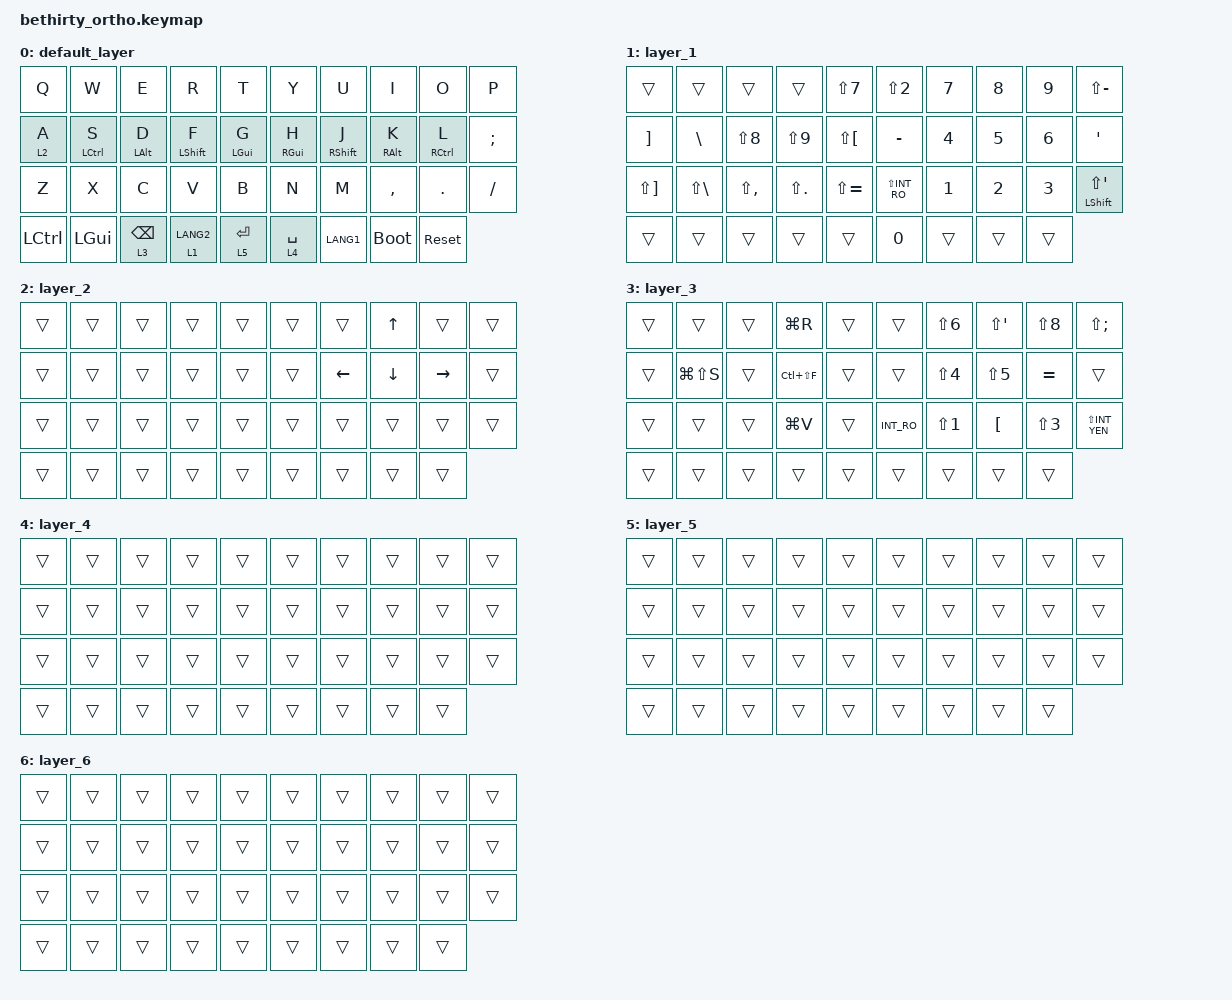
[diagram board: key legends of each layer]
#include <behaviors.dtsi>
#include <dt-bindings/zmk/keys.h>

&mt {
    flavor = "balanced";
    tapping-term-ms = <250>;
    quick-tap-ms = <0>;
};

&lt {
    flavor = "balanced";
    tapping-term-ms = <250>;
    quick-tap-ms = <0>;
};

/ {
    combos {
        compatible = "zmk,combos";

        combo_q_w_esc {
            timeout-ms = <40>;
            layers = <0>;
            key-positions = <0 1>;
            bindings = <&kp ESC>;
        };

        combo_a_s_tab {
            timeout-ms = <40>;
            layers = <0>;
            key-positions = <10 11>;
            bindings = <&kp TAB>;
        };

        combo_z_x_shift_tab {
            timeout-ms = <40>;
            layers = <0>;
            key-positions = <20 21>;
            bindings = <&kp LS(TAB)>;
        };

        combo_q_a_ampersand {
            timeout-ms = <40>;
            layers = <0>;
            key-positions = <0 10>;
            bindings = <&kp LS(N6)>;
        };

        combo_a_z_grave {
            timeout-ms = <40>;
            layers = <0>;
            key-positions = <10 20>;
            bindings = <&kp LS(BACKSLASH)>;
        };

        combo_w_s_exclamation {
            timeout-ms = <40>;
            layers = <0>;
            key-positions = <1 11>;
            bindings = <&kp LS(N1)>;
        };

        combo_s_x_question {
            timeout-ms = <40>;
            layers = <0>;
            key-positions = <11 21>;
            bindings = <&kp LS(SLASH)>;
        };

        combo_e_d_less_than {
            timeout-ms = <40>;
            layers = <0>;
            key-positions = <2 12>;
            bindings = <&kp LS(COMMA)>;
        };

        combo_d_c_greater_than {
            timeout-ms = <40>;
            layers = <0>;
            key-positions = <12 22>;
            bindings = <&kp LS(DOT)>;
        };

        combo_r_f_minus {
            timeout-ms = <40>;
            layers = <0>;
            key-positions = <3 13>;
            bindings = <&kp MINUS>;
        };

        combo_f_v_equal {
            timeout-ms = <40>;
            layers = <0>;
            key-positions = <13 23>;
            bindings = <&kp LS(MINUS)>;
        };

        combo_t_g_tilde {
            timeout-ms = <40>;
            layers = <0>;
            key-positions = <4 14>;
            bindings = <&kp LS(SEMI)>;
        };

        combo_g_b_percent {
            timeout-ms = <40>;
            layers = <0>;
            key-positions = <14 24>;
            bindings = <&kp LS(N5)>;
        };

        combo_y_h_double_quote {
            timeout-ms = <40>;
            layers = <0>;
            key-positions = <5 15>;
            bindings = <&kp BACKSLASH>;
        };

        combo_h_n_single_quote {
            timeout-ms = <40>;
            layers = <0>;
            key-positions = <15 25>;
            bindings = <&kp LS(N7)>;
        };

        combo_u_j_semicolon {
            timeout-ms = <40>;
            layers = <0>;
            key-positions = <6 16>;
            bindings = <&kp SEMI>;
        };

        combo_j_m_colon {
            timeout-ms = <40>;
            layers = <0>;
            key-positions = <16 26>;
            bindings = <&kp SINGLE_QUOTE>;
        };

        combo_i_k_plus {
            timeout-ms = <40>;
            layers = <0>;
            key-positions = <7 17>;
            bindings = <&kp LS(SEMI)>;
        };

        combo_k_comma_asterisk {
            timeout-ms = <40>;
            layers = <0>;
            key-positions = <17 27>;
            bindings = <&kp LS(SINGLE_QUOTE)>;
        };

        combo_o_l_at {
            timeout-ms = <40>;
            layers = <0>;
            key-positions = <8 18>;
            bindings = <&kp BACKSLASH>;
        };

        combo_l_dot_hash {
            timeout-ms = <40>;
            layers = <0>;
            key-positions = <18 28>;
            bindings = <&kp LS(N3)>;
        };

        combo_p_semi_pipe {
            timeout-ms = <40>;
            layers = <0>;
            key-positions = <9 19>;
            bindings = <&kp LS(INT_YEN)>;
        };

        combo_semi_slash_backslash {
            timeout-ms = <40>;
            layers = <0>;
            key-positions = <19 29>;
            bindings = <&kp INT_RO>;
        };

        combo_e_r_left_bracket {
            timeout-ms = <40>;
            layers = <0>;
            key-positions = <2 3>;
            bindings = <&kp BACKSLASH>;
        };

        combo_d_f_left_paren {
            timeout-ms = <40>;
            layers = <0>;
            key-positions = <12 13>;
            bindings = <&kp LS(N8)>;
        };

        combo_c_v_left_brace {
            timeout-ms = <40>;
            layers = <0>;
            key-positions = <22 23>;
            bindings = <&kp LS(BACKSLASH)>;
        };

        combo_u_i_right_bracket {
            timeout-ms = <40>;
            layers = <0>;
            key-positions = <6 7>;
            bindings = <&kp BACKSLASH>;
        };

        combo_j_k_right_paren {
            timeout-ms = <40>;
            layers = <0>;
            key-positions = <16 17>;
            bindings = <&kp LS(N9)>;
        };

        combo_m_comma_right_brace {
            timeout-ms = <40>;
            layers = <0>;
            key-positions = <26 27>;
            bindings = <&kp LS(BACKSLASH)>;
        };

        combo_f_enter_lang2 {
            timeout-ms = <40>;
            layers = <0>;
            key-positions = <13 34>;
            bindings = <&kp LANG2>;
        };

        combo_j_enter_lang1 {
            timeout-ms = <40>;
            layers = <0>;
            key-positions = <16 34>;
            bindings = <&kp LANG1>;
        };
    };


    behaviors {
        hml_cs: homerow_mod_left_ctrl_shift {
            compatible = "zmk,behavior-hold-tap";
            label = "HML_CTRL_SHIFT";
            #binding-cells = <2>;
            flavor = "balanced";
            tapping-term-ms = <250>;
            quick-tap-ms = <0>;
            require-prior-idle-ms = <150>;
            hold-trigger-key-positions = <5 6 7 8 9 15 16 17 18 19 25 26 27 28 29 35 36 37 38>;
            hold-trigger-on-release;
            hold-while-undecided;
            bindings = <&kp>, <&kp>;
        };

        hml_wa: homerow_mod_left_win_alt {
            compatible = "zmk,behavior-hold-tap";
            label = "HML_WIN_ALT";
            #binding-cells = <2>;
            flavor = "balanced";
            tapping-term-ms = <250>;
            quick-tap-ms = <0>;
            require-prior-idle-ms = <150>;
            hold-trigger-key-positions = <5 6 7 8 9 15 16 17 18 19 25 26 27 28 29 35 36 37 38>;
            hold-trigger-on-release;
            bindings = <&kp>, <&kp>;
        };

        hmr_cs: homerow_mod_right_ctrl_shift {
            compatible = "zmk,behavior-hold-tap";
            label = "HMR_CTRL_SHIFT";
            #binding-cells = <2>;
            flavor = "balanced";
            tapping-term-ms = <250>;
            quick-tap-ms = <0>;
            require-prior-idle-ms = <150>;
            hold-trigger-key-positions = <0 1 2 3 4 10 11 12 13 14 20 21 22 23 24 30 31 32 33 34>;
            hold-trigger-on-release;
            hold-while-undecided;
            bindings = <&kp>, <&kp>;
        };

        hmr_wa: homerow_mod_right_win_alt {
            compatible = "zmk,behavior-hold-tap";
            label = "HMR_WIN_ALT";
            #binding-cells = <2>;
            flavor = "balanced";
            tapping-term-ms = <250>;
            quick-tap-ms = <0>;
            require-prior-idle-ms = <150>;
            hold-trigger-key-positions = <0 1 2 3 4 10 11 12 13 14 20 21 22 23 24 30 31 32 33 34>;
            hold-trigger-on-release;
            bindings = <&kp>, <&kp>;
        };
    };

    keymap {
        compatible = "zmk,keymap";

        default_layer {
            bindings = <
                &kp Q                &kp W                &kp E                &kp R                &kp T                &kp Y                &kp U                &kp I                &kp O                &kp P
                &lt 2 A              &hml_cs LCTRL S      &hml_wa LALT D       &hml_cs LSHIFT F     &hml_wa LGUI G       &hmr_wa RGUI H       &hmr_cs RSHIFT J     &hmr_wa RALT K       &hmr_cs RCTRL L      &kp SEMI
                &kp Z                &kp X                &kp C                &kp V                &kp B                &kp N                &kp M                &kp COMMA            &kp DOT              &kp SLASH
                &kp LCTRL            &kp LGUI             &lt 3 BSPC           &lt 1 LANG2          &lt 5 ENTER          &lt 4 SPACE          &kp LANG1            &bootloader          &sys_reset
            >;
        };

        layer_1 {
            bindings = <
                &trans               &trans               &trans               &trans               &kp LS(N7)           &kp LS(N2)           &kp N7               &kp N8               &kp N9               &kp LS(MINUS)
                &kp RIGHT_BRACKET    &kp BACKSLASH        &kp LS(N8)           &kp LS(N9)           &kp LS(LEFT_BRACKET) &kp MINUS            &kp N4               &kp N5               &kp N6               &kp SINGLE_QUOTE
                &kp LS(RIGHT_BRACKET) &kp LS(BACKSLASH)   &kp LS(COMMA)        &kp LS(DOT)          &kp LS(EQUAL)        &kp LS(INT_RO)       &kp N1               &kp N2               &kp N3               &mt LSHIFT LS(SINGLE_QUOTE)
                &trans               &trans               &trans               &trans               &trans               &kp N0               &trans               &trans               &trans
            >;
        };

        layer_2 {
            bindings = <
                &trans               &trans               &trans               &trans               &trans               &trans               &trans               &kp UP_ARROW         &trans               &trans
                &trans               &trans               &trans               &trans               &trans               &trans               &kp LEFT_ARROW       &kp DOWN_ARROW       &kp RIGHT_ARROW      &trans
                &trans               &trans               &trans               &trans               &trans               &trans               &trans               &trans               &trans               &trans
                &trans               &trans               &trans               &trans               &trans               &trans               &trans               &trans               &trans
            >;
        };

        layer_3 {
            bindings = <
                &trans               &trans               &trans               &kp LG(R)            &trans               &trans               &kp LS(N6)           &kp LS(SINGLE_QUOTE) &kp LS(N8)           &kp LS(SEMI)
                &trans               &kp LG(LS(S))        &trans               &kp LC(LS(F))        &trans               &trans               &kp LS(N4)           &kp LS(N5)           &kp EQUAL            &trans
                &trans               &trans               &trans               &kp LG(V)            &trans               &kp INT_RO           &kp LS(N1)           &kp LEFT_BRACKET     &kp LS(N3)           &kp LS(INT_YEN)
                &trans               &trans               &trans               &trans               &trans               &trans               &trans               &trans               &trans
            >;
        };

        layer_4 {
            bindings = <
                &trans               &trans               &trans               &trans               &trans               &trans               &trans               &trans               &trans               &trans
                &trans               &trans               &trans               &trans               &trans               &trans               &trans               &trans               &trans               &trans
                &trans               &trans               &trans               &trans               &trans               &trans               &trans               &trans               &trans               &trans
                &trans               &trans               &trans               &trans               &trans               &trans               &trans               &trans               &trans
            >;
        };

        layer_5 {
            bindings = <
                &trans               &trans               &trans               &trans               &trans               &trans               &trans               &trans               &trans               &trans
                &trans               &trans               &trans               &trans               &trans               &trans               &trans               &trans               &trans               &trans
                &trans               &trans               &trans               &trans               &trans               &trans               &trans               &trans               &trans               &trans
                &trans               &trans               &trans               &trans               &trans               &trans               &trans               &trans               &trans
            >;
        };

        layer_6 {
            bindings = <
                &trans               &trans               &trans               &trans               &trans               &trans               &trans               &trans               &trans               &trans
                &trans               &trans               &trans               &trans               &trans               &trans               &trans               &trans               &trans               &trans
                &trans               &trans               &trans               &trans               &trans               &trans               &trans               &trans               &trans               &trans
                &trans               &trans               &trans               &trans               &trans               &trans               &trans               &trans               &trans
            >;
        };
    };
};
